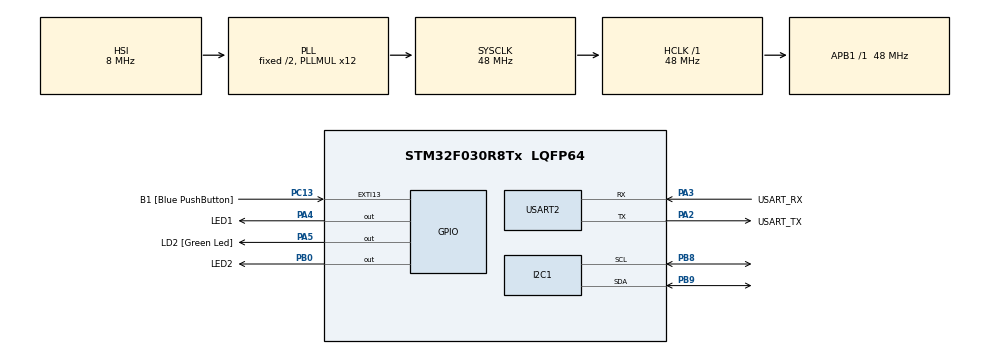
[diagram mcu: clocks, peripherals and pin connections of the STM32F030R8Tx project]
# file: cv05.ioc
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Dma.Request0=USART2_RX
Dma.USART2_RX.0.Direction=DMA_PERIPH_TO_MEMORY
Dma.USART2_RX.0.Instance=DMA1_Channel5
Dma.USART2_RX.0.MemDataAlignment=DMA_MDATAALIGN_BYTE
Dma.USART2_RX.0.MemInc=DMA_MINC_ENABLE
Dma.USART2_RX.0.Mode=DMA_CIRCULAR
Dma.USART2_RX.0.PeriphDataAlignment=DMA_PDATAALIGN_BYTE
Dma.USART2_RX.0.PeriphInc=DMA_PINC_DISABLE
Dma.USART2_RX.0.Priority=DMA_PRIORITY_LOW
Mcu.Family=STM32F0
Mcu.Name=STM32F030R8Tx
Mcu.Package=LQFP64
NVIC.DMA1_Channel4_5_IRQn=true\:0\:0\:false\:false\:true\:false\:true
PA13.GPIO_Label=TMS
PA13.Mode=Serial_Wire
PA13.Signal=SYS_SWDIO
PA14.GPIO_Label=TCK
PA14.Mode=Serial_Wire
PA14.Signal=SYS_SWCLK
PA2.GPIO_Label=USART_TX
PA2.GPIO_Mode=GPIO_MODE_AF_PP
PA2.GPIO_PuPd=GPIO_NOPULL
PA2.GPIO_Speed=GPIO_SPEED_FREQ_LOW
PA2.Mode=Asynchronous
PA2.Signal=USART2_TX
PA3.GPIO_Label=USART_RX
PA3.GPIO_Mode=GPIO_MODE_AF_PP
PA3.GPIO_PuPd=GPIO_NOPULL
PA3.GPIO_Speed=GPIO_SPEED_FREQ_LOW
PA3.Mode=Asynchronous
PA3.Signal=USART2_RX
PA4.GPIO_Label=LED1
PA4.Signal=GPIO_Output
PA5.GPIO_Label=LD2 [Green Led]
PA5.GPIO_Mode=GPIO_MODE_OUTPUT_PP
PA5.GPIO_PuPd=GPIO_NOPULL
PA5.GPIO_Speed=GPIO_SPEED_FREQ_LOW
PA5.Signal=GPIO_Output
PB0.GPIO_Label=LED2
PB0.Signal=GPIO_Output
PB8.Mode=I2C
PB8.Signal=I2C1_SCL
PB9.Mode=I2C
PB9.Signal=I2C1_SDA
PC13.GPIO_Label=B1 [Blue PushButton]
PC13.GPIO_ModeDefaultEXTI=GPIO_MODE_IT_FALLING
PC13.Signal=GPXTI13
PC14-OSC32_IN.Mode=LSE-External-Oscillator
PC14-OSC32_IN.Signal=RCC_OSC32_IN
PC15-OSC32_OUT.Mode=LSE-External-Oscillator
PC15-OSC32_OUT.Signal=RCC_OSC32_OUT
PF0-OSC_IN.Mode=HSE-External-Clock-Source
PF0-OSC_IN.Signal=RCC_OSC_IN
PF1-OSC_OUT.Signal=RCC_OSC_OUT
ProjectManager.HeapSize=0x200
ProjectManager.StackSize=0x400
ProjectManager.TargetToolchain=STM32CubeIDE
RCC.AHBFreq_Value=48000000
RCC.APB1Freq_Value=48000000
RCC.APB1TimFreq_Value=48000000
RCC.HCLKFreq_Value=48000000
RCC.PLLMUL=RCC_PLL_MUL12
RCC.SYSCLKFreq_VALUE=48000000
RCC.SYSCLKSource=RCC_SYSCLKSOURCE_PLLCLK
USART2.VirtualMode-Asynchronous=VM_ASYNC
board=NUCLEO-F030R8

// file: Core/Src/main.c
/* USER CODE BEGIN Header */
/**
  ******************************************************************************
  * @file           : main.c
  * @brief          : Main program body
  ******************************************************************************
  * @attention
  *
  * <h2><center>&copy; Copyright (c) 2020 STMicroelectronics.
  * All rights reserved.</center></h2>
  *
  * This software component is licensed by ST under BSD 3-Clause license,
  * the "License"; You may not use this file except in compliance with the
  * License. You may obtain a copy of the License at:
  *                        opensource.org/licenses/BSD-3-Clause
  *
  ******************************************************************************
  */
/* USER CODE END Header */
#include "main.h"

/* USER CODE BEGIN Includes */
#include <stdio.h>
#include <string.h>

/* USER CODE END Includes */

I2C_HandleTypeDef hi2c1;

UART_HandleTypeDef huart2;
DMA_HandleTypeDef hdma_usart2_rx;

/* USER CODE BEGIN PV */

#define EEPROM_ADDR 0xA0
#define CMD_BUFFER_LEN 64
#define RX_BUFFER_LEN 64  //delka buferu definice 64 bajtu
static uint8_t uart_rx_buf[RX_BUFFER_LEN]; //definice samorneho bafru
static volatile uint16_t uart_rx_read_ptr = 0;
#define uart_rx_write_ptr (RX_BUFFER_LEN - hdma_usart2_rx.Instance->CNDTR)  //definice pointru
/* USER CODE END PV */

void SystemClock_Config(void);
static void MX_GPIO_Init(void);
static void MX_DMA_Init(void);
static void MX_USART2_UART_Init(void);
static void MX_I2C1_Init(void);
/* USER CODE BEGIN PFP */

int _write(int file, char const *buf, int n)
{
 /* stdout redirection to UART2 */
 HAL_UART_Transmit(&huart2, (uint8_t*)(buf), n, HAL_MAX_DELAY);
 return n;
}

static void uart_process_command(char *cmd)
{
	//  printf("prijato: '%s'\n",cmd);

	char *token;
	token = strtok(cmd, " ");

	if (strcasecmp(token, "HELLO") == 0) {  // budeme porovnavat token se slovem HELLO
		printf("OK\n");  //v pripade, ze bude odpovidat dame generujeme OK
	}
	else if (strcasecmp(token, "LED1") == 0)
	{
		printf("OK\n");
			}
			else if (strcasecmp(token, "LED1") == 0) {

				token = strtok(NULL, " ");
				if (strcasecmp(token, "ON") == 0) HAL_GPIO_WritePin(LED1_GPIO_Port, LED1_Pin, GPIO_PIN_SET);
				else if (strcasecmp(token, "OFF") == 0) HAL_GPIO_WritePin(LED1_GPIO_Port, LED1_Pin, GPIO_PIN_RESET);
				printf("OK\n");
			}
			else if (strcasecmp(token, "LED2") == 0)
				{
					token = strtok(NULL, " ");
					if (strcasecmp(token, "ON") == 0) HAL_GPIO_WritePin(LED2_GPIO_Port, LED2_Pin, GPIO_PIN_SET);
					else if (strcasecmp(token, "OFF") == 0) HAL_GPIO_WritePin(LED2_GPIO_Port, LED2_Pin, GPIO_PIN_RESET);
					printf("OK\n");
				}
			else if (strcasecmp(token, "STATUS") == 0)
				{
					if (HAL_GPIO_ReadPin(LED1_GPIO_Port, LED1_Pin)) printf("LED1 ON; ");
					else printf("LED1 OFF; ");

					if (HAL_GPIO_ReadPin(LED2_GPIO_Port, LED2_Pin)) printf("LED2 ON\n");
					else printf("LED2 OFF\n");
				}
				else if (strcasecmp(token, "READ") == 0)  //vytvoreni dalsiho podprikazu
				{
					token = strtok(NULL, " ");
					uint16_t addr = atoi(token);  //prevod retezce na intiger
					uint8_t value;  //prevod do 8bit value

					HAL_I2C_Mem_Read(&hi2c1, EEPROM_ADDR, addr, I2C_MEMADD_SIZE_16BIT, &value, 1, 1000);  //cteni

					printf("Adresa 0x%04X = 0x%02X\n", addr, value);  //vypsani hodnoty do terminalu, predavame dva parametry
				}
				else if (strcasecmp(token, "WRITE") == 0)
					{
						token = strtok(NULL, " ");
						uint16_t addr = atoi(token);
						token = strtok(NULL, " ");
						uint8_t value = atoi(token);

						HAL_I2C_Mem_Write(&hi2c1, EEPROM_ADDR, addr, I2C_MEMADD_SIZE_16BIT, &value, 1, 1000); //zapis
						while (HAL_I2C_IsDeviceReady(&hi2c1, EEPROM_ADDR, 300, 1000) == HAL_TIMEOUT) {}

						printf("WRITE OK\n");
					}
					else if (strcasecmp(token, "DUMP") == 0)
					{
					/*	uint8_t value0;   //zbytecne slozity zapis
						uint8_t value1;
						uint8_t value2;
						uint8_t value3;
						uint8_t value4;
						uint8_t value5;
						uint8_t value6;
						uint8_t value7;
						uint8_t value8;
						uint8_t value9;
						uint8_t valueA;
						uint8_t valueB;
						uint8_t valueC;
						uint8_t valueD;
						uint8_t valueE;
						uint8_t valueF;

									HAL_I2C_Mem_Read(&hi2c1, EEPROM_ADDR, 0x0000, I2C_MEMADD_SIZE_16BIT, &value0, 1, 1000);
									HAL_I2C_Mem_Read(&hi2c1, EEPROM_ADDR, 0x0001, I2C_MEMADD_SIZE_16BIT, &value1, 1, 1000);
									HAL_I2C_Mem_Read(&hi2c1, EEPROM_ADDR, 0x0002, I2C_MEMADD_SIZE_16BIT, &value2, 1, 1000);
									HAL_I2C_Mem_Read(&hi2c1, EEPROM_ADDR, 0x0003, I2C_MEMADD_SIZE_16BIT, &value3, 1, 1000);
									HAL_I2C_Mem_Read(&hi2c1, EEPROM_ADDR, 0x0004, I2C_MEMADD_SIZE_16BIT, &value4, 1, 1000);
									HAL_I2C_Mem_Read(&hi2c1, EEPROM_ADDR, 0x0005, I2C_MEMADD_SIZE_16BIT, &value5, 1, 1000);
									HAL_I2C_Mem_Read(&hi2c1, EEPROM_ADDR, 0x0006, I2C_MEMADD_SIZE_16BIT, &value6, 1, 1000);
									HAL_I2C_Mem_Read(&hi2c1, EEPROM_ADDR, 0x0007, I2C_MEMADD_SIZE_16BIT, &value7, 1, 1000);
									HAL_I2C_Mem_Read(&hi2c1, EEPROM_ADDR, 0x0008, I2C_MEMADD_SIZE_16BIT, &value8, 1, 1000);
									HAL_I2C_Mem_Read(&hi2c1, EEPROM_ADDR, 0x0009, I2C_MEMADD_SIZE_16BIT, &value9, 1, 1000);
									HAL_I2C_Mem_Read(&hi2c1, EEPROM_ADDR, 0x000A, I2C_MEMADD_SIZE_16BIT, &valueA, 1, 1000);
									HAL_I2C_Mem_Read(&hi2c1, EEPROM_ADDR, 0x000B, I2C_MEMADD_SIZE_16BIT, &valueB, 1, 1000);
									HAL_I2C_Mem_Read(&hi2c1, EEPROM_ADDR, 0x000C, I2C_MEMADD_SIZE_16BIT, &valueC, 1, 1000);
									HAL_I2C_Mem_Read(&hi2c1, EEPROM_ADDR, 0x000D, I2C_MEMADD_SIZE_16BIT, &valueD, 1, 1000);
									HAL_I2C_Mem_Read(&hi2c1, EEPROM_ADDR, 0x000E, I2C_MEMADD_SIZE_16BIT, &valueE, 1, 1000);
									HAL_I2C_Mem_Read(&hi2c1, EEPROM_ADDR, 0x000F, I2C_MEMADD_SIZE_16BIT, &valueF, 1, 1000);

						printf("0x%02X 0x%02X 0x%02X 0x%02X 0x%02X 0x%02X 0x%02X 0x%02X\n", value0, value1, value2, value3, value4, value5, value6, value7);
						printf("0x%02X 0x%02X 0x%02X 0x%02X 0x%02X 0x%02X 0x%02X 0x%02X\n", value8, value9, valueA, valueB, valueC, valueD, valueE, valueF);
					*/

						uint16_t addr;
						uint8_t value;

							for (addr = 0; addr < 16; addr++) {
								if (addr == 8){
									printf("\n");
								}
								HAL_I2C_Mem_Read(&hi2c1, EEPROM_ADDR, addr, I2C_MEMADD_SIZE_16BIT, &value, 1, 1000);
								printf("%02X ", value);
							}
							printf("\n");
					}

					else
					{
						printf("Neplatny prikaz\n");
					}
				}

static void uart_byte_available(uint8_t c)
{
	 static uint16_t cnt;
	 static char data[CMD_BUFFER_LEN];  //funkce bere jeden znak po druhem
	 if (cnt < CMD_BUFFER_LEN && c >= 32 && c <= 126) data[cnt++] = c;
	 if ((c == '\n' || c == '\r') && cnt > 0)  // v pripade ze se jedna o new line a zaroven se v buderu neco nachazi udelame z nej novy c retezec
	 {
		 data[cnt] = '\0';
		 uart_process_command(data);
		 cnt = 0;
	 }
}

/* USER CODE END PFP */

int main(void)
{

  /* MCU Configuration--------------------------------------------------------*/

  /* Reset of all peripherals, Initializes the Flash interface and the Systick. */
  HAL_Init();

  /* Configure the system clock */
  SystemClock_Config();

  /* Initialize all configured peripherals */
  MX_GPIO_Init();
  MX_DMA_Init();
  MX_USART2_UART_Init();
  MX_I2C1_Init();
  /* USER CODE BEGIN 2 */

    HAL_UART_Receive_DMA(&huart2, uart_rx_buf, RX_BUFFER_LEN);  //aktivace cteni z uartu

  /* USER CODE END 2 */

  /* Infinite loop */
    while (1)
    {

    /* USER CODE BEGIN 3 */
  	  while (uart_rx_read_ptr != uart_rx_write_ptr)
  	  {
  	   uint8_t b = uart_rx_buf[uart_rx_read_ptr];  //precteni jednoho bajdu z cteciho indexu a nasledna inkrementace
  	   if (++uart_rx_read_ptr >= RX_BUFFER_LEN) uart_rx_read_ptr = 0; // pokud se dostaneme na konec buferu tak jej odesleme zpet
  	   uart_byte_available(b); // process every received byte with the RX state machine
  	  }
    }
  /* USER CODE END 3 */
}

void SystemClock_Config(void)
{
  RCC_OscInitTypeDef RCC_OscInitStruct = {0};
  RCC_ClkInitTypeDef RCC_ClkInitStruct = {0};
  RCC_PeriphCLKInitTypeDef PeriphClkInit = {0};

  /** Initializes the RCC Oscillators according to the specified parameters
  * in the RCC_OscInitTypeDef structure.
  */
  RCC_OscInitStruct.OscillatorType = RCC_OSCILLATORTYPE_HSI;
  RCC_OscInitStruct.HSIState = RCC_HSI_ON;
  RCC_OscInitStruct.HSICalibrationValue = RCC_HSICALIBRATION_DEFAULT;
  RCC_OscInitStruct.PLL.PLLState = RCC_PLL_ON;
  RCC_OscInitStruct.PLL.PLLSource = RCC_PLLSOURCE_HSI;
  RCC_OscInitStruct.PLL.PLLMUL = RCC_PLL_MUL12;
  RCC_OscInitStruct.PLL.PREDIV = RCC_PREDIV_DIV1;
  if (HAL_RCC_OscConfig(&RCC_OscInitStruct) != HAL_OK)
  {
    Error_Handler();
  }
  /** Initializes the CPU, AHB and APB buses clocks
  */
  RCC_ClkInitStruct.ClockType = RCC_CLOCKTYPE_HCLK|RCC_CLOCKTYPE_SYSCLK
                              |RCC_CLOCKTYPE_PCLK1;
  RCC_ClkInitStruct.SYSCLKSource = RCC_SYSCLKSOURCE_PLLCLK;
  RCC_ClkInitStruct.AHBCLKDivider = RCC_SYSCLK_DIV1;
  RCC_ClkInitStruct.APB1CLKDivider = RCC_HCLK_DIV1;

  if (HAL_RCC_ClockConfig(&RCC_ClkInitStruct, FLASH_LATENCY_1) != HAL_OK)
  {
    Error_Handler();
  }
  PeriphClkInit.PeriphClockSelection = RCC_PERIPHCLK_I2C1;
  PeriphClkInit.I2c1ClockSelection = RCC_I2C1CLKSOURCE_HSI;
  if (HAL_RCCEx_PeriphCLKConfig(&PeriphClkInit) != HAL_OK)
  {
    Error_Handler();
  }
}

static void MX_I2C1_Init(void)
{

  hi2c1.Instance = I2C1;
  hi2c1.Init.Timing = 0x2000090E;
  hi2c1.Init.OwnAddress1 = 0;
  hi2c1.Init.AddressingMode = I2C_ADDRESSINGMODE_7BIT;
  hi2c1.Init.DualAddressMode = I2C_DUALADDRESS_DISABLE;
  hi2c1.Init.OwnAddress2 = 0;
  hi2c1.Init.OwnAddress2Masks = I2C_OA2_NOMASK;
  hi2c1.Init.GeneralCallMode = I2C_GENERALCALL_DISABLE;
  hi2c1.Init.NoStretchMode = I2C_NOSTRETCH_DISABLE;
  if (HAL_I2C_Init(&hi2c1) != HAL_OK)
  {
    Error_Handler();
  }
  /** Configure Analogue filter
  */
  if (HAL_I2CEx_ConfigAnalogFilter(&hi2c1, I2C_ANALOGFILTER_ENABLE) != HAL_OK)
  {
    Error_Handler();
  }
  /** Configure Digital filter
  */
  if (HAL_I2CEx_ConfigDigitalFilter(&hi2c1, 0) != HAL_OK)
  {
    Error_Handler();
  }

}

static void MX_USART2_UART_Init(void)
{

  huart2.Instance = USART2;
  huart2.Init.BaudRate = 38400;
  huart2.Init.WordLength = UART_WORDLENGTH_8B;
  huart2.Init.StopBits = UART_STOPBITS_1;
  huart2.Init.Parity = UART_PARITY_NONE;
  huart2.Init.Mode = UART_MODE_TX_RX;
  huart2.Init.HwFlowCtl = UART_HWCONTROL_NONE;
  huart2.Init.OverSampling = UART_OVERSAMPLING_16;
  huart2.Init.OneBitSampling = UART_ONE_BIT_SAMPLE_DISABLE;
  huart2.AdvancedInit.AdvFeatureInit = UART_ADVFEATURE_NO_INIT;
  if (HAL_UART_Init(&huart2) != HAL_OK)
  {
    Error_Handler();
  }

}

static void MX_DMA_Init(void)
{

  /* DMA controller clock enable */
  __HAL_RCC_DMA1_CLK_ENABLE();

  /* DMA interrupt init */
  /* DMA1_Channel4_5_IRQn interrupt configuration */
  HAL_NVIC_SetPriority(DMA1_Channel4_5_IRQn, 0, 0);
  HAL_NVIC_EnableIRQ(DMA1_Channel4_5_IRQn);

}

static void MX_GPIO_Init(void)
{
  GPIO_InitTypeDef GPIO_InitStruct = {0};

  /* GPIO Ports Clock Enable */
  __HAL_RCC_GPIOC_CLK_ENABLE();
  __HAL_RCC_GPIOF_CLK_ENABLE();
  __HAL_RCC_GPIOA_CLK_ENABLE();
  __HAL_RCC_GPIOB_CLK_ENABLE();

  /*Configure GPIO pin Output Level */
  HAL_GPIO_WritePin(GPIOA, LED1_Pin|LD2_Pin, GPIO_PIN_RESET);

  /*Configure GPIO pin Output Level */
  HAL_GPIO_WritePin(LED2_GPIO_Port, LED2_Pin, GPIO_PIN_RESET);

  /*Configure GPIO pin : B1_Pin */
  GPIO_InitStruct.Pin = B1_Pin;
  GPIO_InitStruct.Mode = GPIO_MODE_IT_FALLING;
  GPIO_InitStruct.Pull = GPIO_NOPULL;
  HAL_GPIO_Init(B1_GPIO_Port, &GPIO_InitStruct);

  /*Configure GPIO pins : LED1_Pin LD2_Pin */
  GPIO_InitStruct.Pin = LED1_Pin|LD2_Pin;
  GPIO_InitStruct.Mode = GPIO_MODE_OUTPUT_PP;
  GPIO_InitStruct.Pull = GPIO_NOPULL;
  GPIO_InitStruct.Speed = GPIO_SPEED_FREQ_LOW;
  HAL_GPIO_Init(GPIOA, &GPIO_InitStruct);

  /*Configure GPIO pin : LED2_Pin */
  GPIO_InitStruct.Pin = LED2_Pin;
  GPIO_InitStruct.Mode = GPIO_MODE_OUTPUT_PP;
  GPIO_InitStruct.Pull = GPIO_NOPULL;
  GPIO_InitStruct.Speed = GPIO_SPEED_FREQ_LOW;
  HAL_GPIO_Init(LED2_GPIO_Port, &GPIO_InitStruct);

}

void Error_Handler(void)
{
}

/************************ (C) COPYRIGHT STMicroelectronics *****END OF FILE****/
